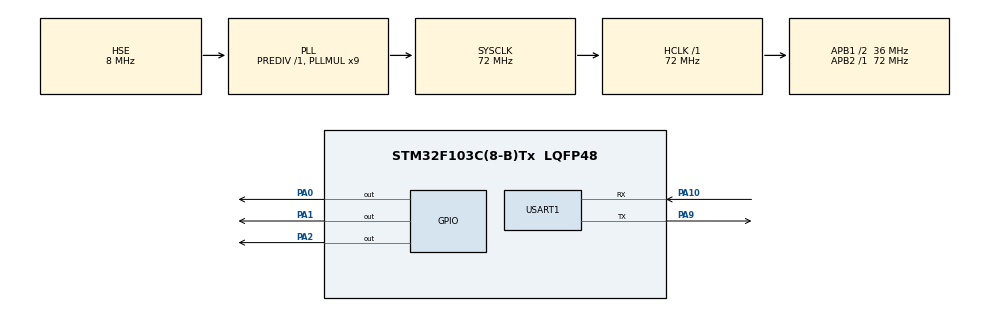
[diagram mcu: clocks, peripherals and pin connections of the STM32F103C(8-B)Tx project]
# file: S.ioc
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Mcu.Family=STM32F1
Mcu.Name=STM32F103C(8-B)Tx
Mcu.Package=LQFP48
NVIC.PriorityGroup=NVIC_PRIORITYGROUP_4
NVIC.TIM2_IRQn=true\:0\:0\:false\:false\:true\:true\:true\:true
PA0-WKUP.Signal=GPIO_Output
PA1.Signal=GPIO_Output
PA10.Mode=Asynchronous
PA10.Signal=USART1_RX
PA2.Signal=GPIO_Output
PA9.Mode=Asynchronous
PA9.Signal=USART1_TX
PD0-OSC_IN.Mode=HSE-External-Oscillator
PD0-OSC_IN.Signal=RCC_OSC_IN
PD1-OSC_OUT.Mode=HSE-External-Oscillator
PD1-OSC_OUT.Signal=RCC_OSC_OUT
ProjectManager.HeapSize=0x200
ProjectManager.StackSize=0x400
ProjectManager.TargetToolchain=STM32CubeIDE
RCC.AHBFreq_Value=72000000
RCC.APB1CLKDivider=RCC_HCLK_DIV2
RCC.APB1Freq_Value=36000000
RCC.APB1TimFreq_Value=72000000
RCC.APB2Freq_Value=72000000
RCC.APB2TimFreq_Value=72000000
RCC.HCLKFreq_Value=72000000
RCC.PLLMUL=RCC_PLL_MUL9
RCC.PLLSourceVirtual=RCC_PLLSOURCE_HSE
RCC.SYSCLKFreq_VALUE=72000000
RCC.SYSCLKSource=RCC_SYSCLKSOURCE_PLLCLK
RCC.USBFreq_Value=72000000
TIM2.Period=19999
TIM2.Prescaler=71
USART1.VirtualMode=VM_ASYNC
VP_SYS_VS_ND.Mode=No_Debug
VP_TIM2_VS_ClockSourceINT.Mode=Internal
board=custom

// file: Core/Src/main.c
/* USER CODE BEGIN Header */
/**
  ******************************************************************************
  * @file           : main.c
  * @brief          : Main program body
  ******************************************************************************
  * @attention
  *
  * Copyright (c) 2026 STMicroelectronics.
  * All rights reserved.
  *
  * This software is licensed under terms that can be found in the LICENSE file
  * in the root directory of this software component.
  * If no LICENSE file comes with this software, it is provided AS-IS.
  *
  ******************************************************************************
  */
/* USER CODE END Header */
#include "main.h"

/* USER CODE BEGIN Includes */
#include <string.h>
#include <stdio.h>
/* USER CODE END Includes */

TIM_HandleTypeDef htim2;

UART_HandleTypeDef huart1;

/* USER CODE BEGIN PV */
uint8_t servo_pos = 0;
/* USER CODE END PV */

void SystemClock_Config(void);
static void MX_GPIO_Init(void);
static void MX_USART1_UART_Init(void);
static void MX_TIM2_Init(void);

/* USER CODE BEGIN 0 */
volatile uint32_t system_tick = 0;

uint32_t elapsed(uint32_t last) {
    return system_tick - last;
}
/* USER CODE END 0 */

int main(void)
{

  /* MCU Configuration--------------------------------------------------------*/

  /* Reset of all peripherals, Initializes the Flash interface and the Systick. */
  HAL_Init();

  /* Configure the system clock */
  SystemClock_Config();

  /* Initialize all configured peripherals */
  MX_GPIO_Init();
  MX_USART1_UART_Init();
  MX_TIM2_Init();
  /* USER CODE BEGIN 2 */
  HAL_TIM_Base_Start_IT(&htim2);
  uint32_t last_led1 = 0;
  uint32_t last_led2 = 0;
  uint32_t last_led3 = 0;
  /* USER CODE END 2 */

  /* Infinite loop */
  while (1)
  {

    /* USER CODE BEGIN 3 */

      if (elapsed(last_led1) >= 200) {
          last_led1 = system_tick;
          HAL_GPIO_TogglePin(GPIOA, GPIO_PIN_0);
      }

      if (elapsed(last_led2) >= 500) {
          last_led2 = system_tick;
          HAL_GPIO_TogglePin(GPIOA, GPIO_PIN_1);
      }

      if (elapsed(last_led3) >= 1000) {
          last_led3 = system_tick;
          HAL_GPIO_TogglePin(GPIOA, GPIO_PIN_2);
      }
  }
  /* USER CODE END 3 */
}

void SystemClock_Config(void)
{
  RCC_OscInitTypeDef RCC_OscInitStruct = {0};
  RCC_ClkInitTypeDef RCC_ClkInitStruct = {0};

  /** Initializes the RCC Oscillators according to the specified parameters
  * in the RCC_OscInitTypeDef structure.
  */
  RCC_OscInitStruct.OscillatorType = RCC_OSCILLATORTYPE_HSE;
  RCC_OscInitStruct.HSEState = RCC_HSE_ON;
  RCC_OscInitStruct.HSEPredivValue = RCC_HSE_PREDIV_DIV1;
  RCC_OscInitStruct.HSIState = RCC_HSI_ON;
  RCC_OscInitStruct.PLL.PLLState = RCC_PLL_ON;
  RCC_OscInitStruct.PLL.PLLSource = RCC_PLLSOURCE_HSE;
  RCC_OscInitStruct.PLL.PLLMUL = RCC_PLL_MUL9;
  if (HAL_RCC_OscConfig(&RCC_OscInitStruct) != HAL_OK)
  {
    Error_Handler();
  }

  /** Initializes the CPU, AHB and APB buses clocks
  */
  RCC_ClkInitStruct.ClockType = RCC_CLOCKTYPE_HCLK|RCC_CLOCKTYPE_SYSCLK
                              |RCC_CLOCKTYPE_PCLK1|RCC_CLOCKTYPE_PCLK2;
  RCC_ClkInitStruct.SYSCLKSource = RCC_SYSCLKSOURCE_PLLCLK;
  RCC_ClkInitStruct.AHBCLKDivider = RCC_SYSCLK_DIV1;
  RCC_ClkInitStruct.APB1CLKDivider = RCC_HCLK_DIV2;
  RCC_ClkInitStruct.APB2CLKDivider = RCC_HCLK_DIV1;

  if (HAL_RCC_ClockConfig(&RCC_ClkInitStruct, FLASH_LATENCY_2) != HAL_OK)
  {
    Error_Handler();
  }
}

static void MX_TIM2_Init(void)
{

  TIM_ClockConfigTypeDef sClockSourceConfig = {0};
  TIM_MasterConfigTypeDef sMasterConfig = {0};

  htim2.Instance = TIM2;
  htim2.Init.Prescaler = 71;
  htim2.Init.CounterMode = TIM_COUNTERMODE_UP;
  htim2.Init.Period = 19999;
  htim2.Init.ClockDivision = TIM_CLOCKDIVISION_DIV1;
  htim2.Init.AutoReloadPreload = TIM_AUTORELOAD_PRELOAD_DISABLE;
  if (HAL_TIM_Base_Init(&htim2) != HAL_OK)
  {
    Error_Handler();
  }
  sClockSourceConfig.ClockSource = TIM_CLOCKSOURCE_INTERNAL;
  if (HAL_TIM_ConfigClockSource(&htim2, &sClockSourceConfig) != HAL_OK)
  {
    Error_Handler();
  }
  sMasterConfig.MasterOutputTrigger = TIM_TRGO_RESET;
  sMasterConfig.MasterSlaveMode = TIM_MASTERSLAVEMODE_DISABLE;
  if (HAL_TIMEx_MasterConfigSynchronization(&htim2, &sMasterConfig) != HAL_OK)
  {
    Error_Handler();
  }

}

static void MX_USART1_UART_Init(void)
{

  huart1.Instance = USART1;
  huart1.Init.BaudRate = 115200;
  huart1.Init.WordLength = UART_WORDLENGTH_8B;
  huart1.Init.StopBits = UART_STOPBITS_1;
  huart1.Init.Parity = UART_PARITY_NONE;
  huart1.Init.Mode = UART_MODE_TX_RX;
  huart1.Init.HwFlowCtl = UART_HWCONTROL_NONE;
  huart1.Init.OverSampling = UART_OVERSAMPLING_16;
  if (HAL_UART_Init(&huart1) != HAL_OK)
  {
    Error_Handler();
  }

}

static void MX_GPIO_Init(void)
{
  GPIO_InitTypeDef GPIO_InitStruct = {0};

  /* GPIO Ports Clock Enable */
  __HAL_RCC_GPIOD_CLK_ENABLE();
  __HAL_RCC_GPIOA_CLK_ENABLE();

  /*Configure GPIO pin Output Level */
  HAL_GPIO_WritePin(GPIOA, GPIO_PIN_0|GPIO_PIN_1|GPIO_PIN_2, GPIO_PIN_RESET);

  /*Configure GPIO pins : PA0 PA1 PA2 */
  GPIO_InitStruct.Pin = GPIO_PIN_0|GPIO_PIN_1|GPIO_PIN_2;
  GPIO_InitStruct.Mode = GPIO_MODE_OUTPUT_PP;
  GPIO_InitStruct.Pull = GPIO_NOPULL;
  GPIO_InitStruct.Speed = GPIO_SPEED_FREQ_LOW;
  HAL_GPIO_Init(GPIOA, &GPIO_InitStruct);

}

/* USER CODE BEGIN 4 */
void HAL_TIM_PeriodElapsedCallback(TIM_HandleTypeDef *htim) {
    if (htim->Instance == TIM2) {
        system_tick++;
    }
}

/* USER CODE END 4 */

void Error_Handler(void)
{
  __disable_irq();
  while (1) {}
}
